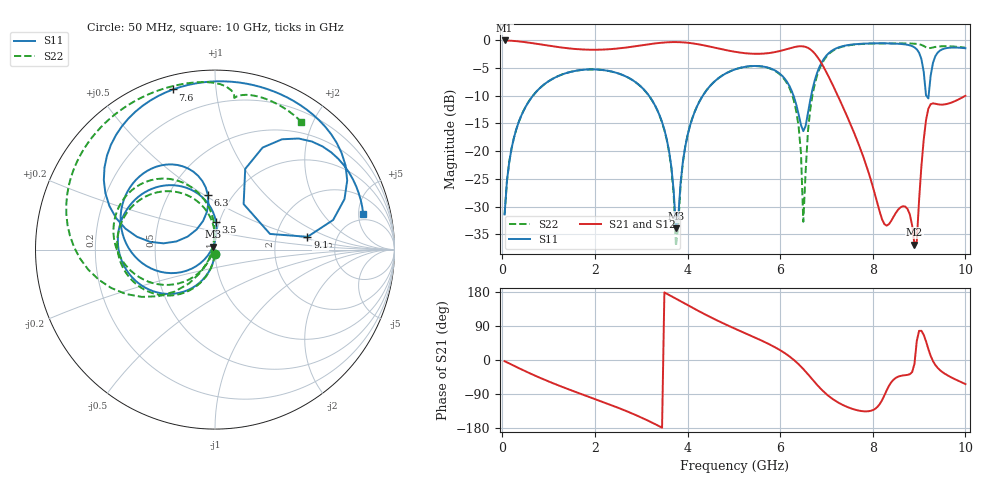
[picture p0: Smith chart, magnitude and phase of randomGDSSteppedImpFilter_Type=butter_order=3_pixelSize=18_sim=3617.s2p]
! freq	dB(S11)	phase(S11)	dB(S12)	phase(S12)
!  dB(S21)	phase(S21)	dB(S22)	phase(S22)
!S-par simulation data
#  GHz  S  DB  R 50
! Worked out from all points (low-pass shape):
!   200 points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, 50 MHz to 10 GHz, reference 50 ohm
!   highest |S21| = -0.01 dB at 50 MHz (marker M1); lowest = -36.9 dB at 8.9 GHz (marker M2)
!   |S21| within 3 dB of the highest: start of sweep to 6.806 GHz
!   lowest |S11| = -33.9 dB at 3.75 GHz (marker M3), VSWR 1.04, Z = 48.9 + j1.69 ohm
!   |S11| at or under -10 dB: start of sweep to 660.5 MHz; 3.168 GHz to 4.329 GHz (1.161 GHz wide, 31 % of centre); 6.289 GHz to 6.669 GHz (380.2 MHz wide, 5.87 % of centre) (the widest 3 of 4)
!   |S22| runs from -37.2 to -0.5 dB; largest |S21 - S12| = 0
!   S11 on the Smith chart (normalised r, x): 50 MHz: 1.00, -0.05; 3.5 GHz: 0.96, +0.31; 6.3 GHz: 0.77, +0.52; 7.6 GHz: 0.06, +0.77; 9.1 GHz: 3.04, +0.59; 10 GHz: 4.06, +5.71
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0.05  -31.42 -93.2  -0.01 -3.1  -0.01 -3.1  -31.42 -93.1
0.5  -12.04 -120.9  -0.32 -29.7  -0.32 -29.7  -12.04 -119.6
1.75  -5.31 175.5  -1.64 -91.8  -1.64 -91.8  -5.30 -179.9
3.4  -13.61 93.0  -0.45 -175.4  -0.45 -175.4  -13.64 101.0
3.5  -16.13 88.1  -0.38 178.3  -0.38 178.3  -16.19 95.7
3.65  -22.81 85.4  -0.31 168.5  -0.31 168.5  -23.04 90.2
3.75  -33.93 121.0  -0.30 161.8  -0.30 161.8  -37.15 115.5
4.1  -14.15 -143.3  -0.52 138.4  -0.52 138.4  -14.14 -128.5
5.05  -5.16 162.4  -2.10 81.2  -2.10 81.2  -5.17 178.6
6.3  -10.25 97.4  -1.22 -0.2  -1.22 -0.2  -10.99 101.9
6.45  -15.27 112.8  -1.05 -17.4  -1.05 -17.4  -20.40 90.1
6.5  -16.38 132.5  -1.08 -23.8  -1.08 -23.8  -32.75 116.1
6.7  -8.76 173.2  -1.96 -51.9  -1.96 -51.9  -9.76 -133.9
7.1  -1.97 139.0  -7.44 -100.0  -7.44 -100.0  -2.10 179.1
7.6  -0.70 104.7  -16.75 -130.5  -16.75 -130.5  -0.76 144.9
8.35  -0.54 67.1  -33.18 -68.0  -33.18 -68.0  -0.53 113.1
8.7  -0.73 48.2  -30.00 -40.1  -30.00 -40.1  -0.54 100.2
8.9  -1.25 32.9  -36.85 -10.5  -36.85 -10.5  -0.60 92.5
9.1  -5.68 7.9  -17.93 66.5  -17.93 66.5  -1.00 84.1
9.2  -10.47 57.8  -12.33 29.0  -12.33 29.0  -1.40 82.7
9.35  -2.87 58.7  -11.43 -13.1  -11.43 -13.1  -1.18 80.3
10  -1.42 13.4  -10.00 -63.5  -10.00 -63.5  -1.32 56.0
